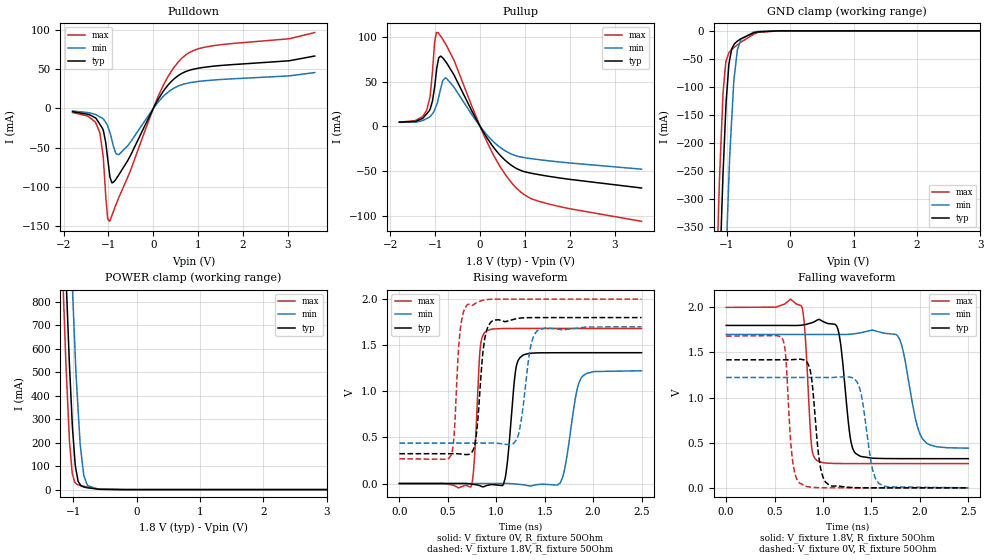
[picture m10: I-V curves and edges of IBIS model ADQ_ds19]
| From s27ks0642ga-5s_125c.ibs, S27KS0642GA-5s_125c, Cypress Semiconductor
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[Model]   ADQ_ds19
Model_type   I/O
Polarity   Non-Inverting
Enable   Active-High
Vinl = 0.54
Vinh = 1.26
Vmeas = 0.9
Vref = 0.9
Cref = 15pF
|   typ   min   max
C_comp   1.03pF   1.01pF   1.05pF
[Voltage Range]   1.8   1.7   2
[Temperature Range]   25   125   -40
[Pullup Reference]   1.8   1.7   2
[Pulldown Reference]   0   0   0
[Power Clamp Reference]   1.8   1.7   2
[GND Clamp Reference]   0   0   0
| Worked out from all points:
|   slope of the pulldown table from 0 to 0.27 V, typ, clamps not added: 10.5 ohm
|   slope of the pullup table from 0 to 0.27 V, typ, clamps not added: 12.6 ohm
|   falling waveform, V_fixture 1.8V, R_fixture 50Ohm: 20-80 % time 81.8ps typ, 131ps min, 52.3ps max; typ from 1.8 V to 0.324 V
|   rising waveform, V_fixture 0V, R_fixture 50Ohm: 20-80 % time 69ps typ, 106ps min, 46.8ps max; typ from 0 V to 1.42 V
|   rising waveform, V_fixture 1.8V, R_fixture 50Ohm: 20-80 % time 68.6ps typ, 90.2ps min, 56.9ps max; typ from 0.324 V to 1.8 V
|   falling waveform, V_fixture 0V, R_fixture 50Ohm: 20-80 % time 74.3ps typ, 98.8ps min, 59.5ps max; typ from 1.42 V to 0 V
[Pulldown]
|   Voltage   I(typ)   I(min)   I(max)
-1.8V     -4.128mA   -3.21mA    -5.132mA
-1.46V    -7.456mA   -5.298mA   -9.828mA
-1.192V   -20.16mA   -10.68mA   -30.97mA
-1.114V   -28.49mA   -13.6mA    -62.86mA
-1.016V   -64.43mA   -22.72mA   -141.1mA
-976mV    -83.23mA   -29.18mA   -144.2mA
-921.6mV  -95.15mA   -40.6mA    -136.7mA
-774mV    -85.29mA   -59.06mA   -114.7mA
114mV     12.03mA    8.387mA    16.12mA
628mV     44.55mA    30.21mA    63.69mA
1.118V    52.49mA    35.24mA    77.94mA
3.6V      67.03mA    45.87mA    97.01mA
[GND Clamp]
|   Voltage   I(typ)   I(min)   I(max)
-1.8V     -3.484A    -3.81A     -3.305A
-1.19V    -751.2mA   -1.09A     -545.8mA
-1.127V   -491.7mA   -827mA     -309.5mA
-1.096V   -380.7mA   -705.9mA   -213.5mA
-1.058V   -253.6mA   -565.5mA   -110mA
-1.01V    -127.4mA   -399.6mA   -53.63mA
-966.6mV  -59.75mA   -264.1mA   -39.24mA
-888.8mV  -25.27mA   -89.33mA   -30.08mA
-832.7mV  -18.36mA   -34.05mA   -25.01mA
-774mV    -13.99mA   -14.84mA   -20.07mA
-178.2mV  -240.2nA   -1.354uA   0A
3.6V      0A         0A         0A
[Pullup]
|   Voltage   I(typ)   I(min)   I(max)
-1.8V     4.739mA    4.581mA    4.854mA
-1.19V    14.14mA    8.85mA     18.08mA
-1.114V   19.4mA     11.09mA    33.53mA
-1.06V    28.85mA    14.34mA    61.89mA
-1.014V   43.91mA    18.38mA    94.14mA
-940mV    71.94mA    29.02mA    104.7mA
-832.7mV  76.46mA    51.2mA     97.14mA
-743.4mV  70.6mA     53.27mA    89.67mA
254mV     -20.17mA   -14.95mA   -27.52mA
809.5mV   -46.86mA   -32.87mA   -68.7mA
1.532V    -55.65mA   -38.36mA   -86.51mA
3.6V      -68.66mA   -47.66mA   -105.8mA
[POWER Clamp]
|   Voltage   I(typ)   I(min)   I(max)
-1.8V     6.849A     7.494A     6.488A
-1.19V    1.527A     2.222A     1.107A
-1.127V   1.015A     1.704A     631.5mA
-1.116V   933.9mA    1.619A     550.1mA
-1.096V   792.3mA    1.465A     431.7mA
-1.058V   531.1mA    1.182A     206.8mA
-1.01V    261.2mA    847mA      65.22mA
-941.5mV  64.52mA    431.1mA    22.99mA
-888.8mV  21.19mA    191.1mA    17.82mA
-832.7mV  11.08mA    60.81mA    14.22mA
-613.4mV  2.272mA    1.92mA     3.385mA
3.6V      0A         0A         0A
[Ramp]
R_load = 50
|   typ   min   max
dV/dt_r 8.5138E-01/6.8904E-11   7.3401E-01/1.0482E-10   1.0092E+00/4.6810E-11
dV/dt_f 8.8587E-01/8.1153E-11   7.5613E-01/1.3062E-10   1.0387E+00/5.2282E-11
[Falling Waveform]
V_fixture = 1.8V
V_fixture_min = 1.7V
V_fixture_max = 2V
R_fixture = 50Ohm
C_fixture = 0F
|   Time   V(typ)   V(min)   V(max)
0s        1.8V       1.7V       2V
775ps     1.803V     1.7V       2.019V
815ps     1.809V     1.7V       1.703V
880ps     1.828V     1.7V       480mV
940ps     1.86V      1.7V       301.5mV
1.155ns   1.753V     1.699V     269.8mV
1.34ns    378.8mV    1.71V      268.9mV
1.765ns   324mV      1.691V     268.8mV
2.025ns   323.6mV    546.1mV    268.8mV
2.5ns     323.6mV    439.8mV    268.8mV
[Rising Waveform]
V_fixture = 0V
V_fixture_min = 0V
V_fixture_max = 0V
R_fixture = 50Ohm
C_fixture = 0F
|   Time   V(typ)   V(min)   V(max)
0s        0V         0V         0V
740ps     -5.265mV   0V         -34.01mV
775ps     -10.52mV   0V         268.8mV
835ps     -25.01mV   1.318uV    1.473V
900ps     -22.2mV    -24.09uV   1.656V
1.09ns    47.51mV    509.7uV    1.681V
1.245ns   1.365V     -9.551mV   1.682V
1.66ns    1.419V     5.714mV    1.682V
1.9ns     1.419V     1.173V     1.682V
2.5ns     1.419V     1.223V     1.682V
[Rising Waveform]
V_fixture = 1.8V
V_fixture_min = 1.7V
V_fixture_max = 2V
R_fixture = 50Ohm
C_fixture = 0F
|   Time   V(typ)   V(min)   V(max)
0s        323.6mV    438.6mV    268.8mV
535ps     323.7mV    438.6mV    308.9mV
625ps     321.2mV    438.6mV    1.631V
705ps     314.5mV    438.6mV    1.94V
780ps     426.7mV    438.6mV    1.95V
865ps     1.447V     438.6mV    1.988V
955ps     1.76V      439.1mV    1.999V
1.22ns    1.79V      503mV      2V
1.43ns    1.8V       1.662V     2V
2.5ns     1.8V       1.7V       2V
[Falling Waveform]
|Gnd
V_fixture = 0V
V_fixture_min = 0V
V_fixture_max = 0V
R_fixture = 50Ohm
C_fixture = 0F
|   Time   V(typ)   V(min)   V(max)
0s        1.419V     1.223V     1.682V
580ps     1.419V     1.223V     1.653V
680ps     1.42V      1.223V     350.8mV
760ps     1.425V     1.223V     51.78mV
865ps     1.313V     1.223V     9.378mV
970ps     244.1mV    1.224V     1.478mV
1.065ns   27.8mV     1.223V     258.4uV
1.37ns    1.422mV    1.13V      6.181uV
1.58ns    83.87uV    46.55mV    733.4nV
2.5ns     0V         18.93uV    0V
